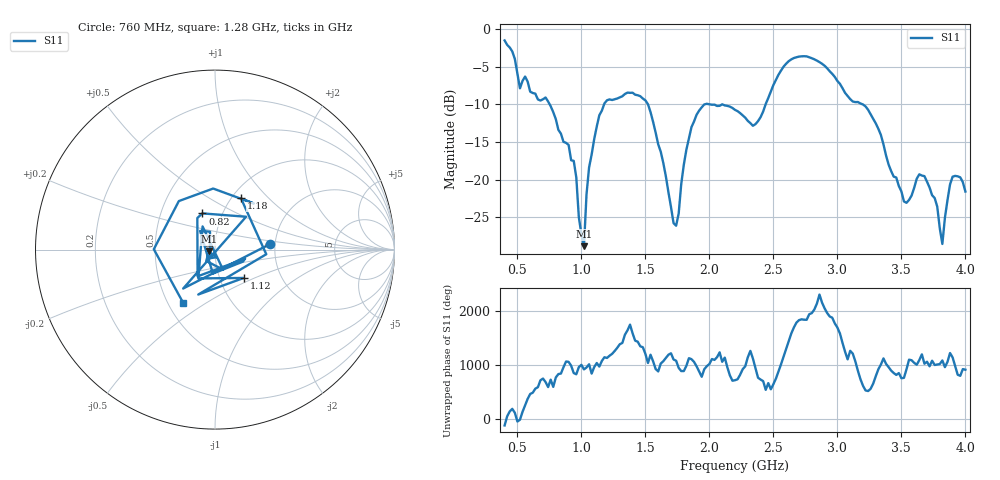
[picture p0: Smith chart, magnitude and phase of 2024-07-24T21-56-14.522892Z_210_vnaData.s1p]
!Created with skrf (http://scikit-rf.org).
# Hz S RI R 50.0
!freq ReS11 ImS11
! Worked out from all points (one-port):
!   181 points, 400 MHz to 4 GHz, reference 50 ohm
!   lowest |S11| = -28.8 dB at 1.02 GHz (marker M1), VSWR 1.07, Z = 46.6 - j0.956 ohm
!   |S11| at or under -10 dB: 1.52 GHz to 1.967 GHz (447.2 MHz wide, 25.6 % of centre); 1.996 GHz to 2.44 GHz (443 MHz wide, 20 % of centre); 3.194 GHz to end of sweep (the widest 3 of 4)
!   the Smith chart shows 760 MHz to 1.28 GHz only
!   S11 on the Smith chart (normalised r, x): 760 MHz: 1.87, +0.12; 820 MHz: 0.80, +0.34; 1.12 GHz: 1.30, -0.43; 1.18 GHz: 1.10, +0.70; 1.28 GHz: 0.60, -0.40
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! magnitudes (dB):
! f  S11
! 400 MHz  -1.5
! 520 MHz  -7.9
! 760 MHz  -10.3
! 820 MHz  -13.4
! 860 MHz  -15.0
! 940 MHz  -17.5
! 1.02 GHz  -28.8
! 1.06 GHz  -18.4
! 1.12 GHz  -13.0
! 1.18 GHz  -9.9
! 1.28 GHz  -9.2
! 1.3 GHz  -9.1
! 1.52 GHz  -10.0
! 1.72 GHz  -25.8
! 1.76 GHz  -24.5
! 1.82 GHz  -16.0
! 1.9 GHz  -11.4
! 2.2 GHz  -10.8
! 2.36 GHz  -12.6
! 2.66 GHz  -3.9
! 3.1 GHz  -9.3
! 3.24 GHz  -10.7
! 3.56 GHz  -22.7
! 3.68 GHz  -19.6
! 3.78 GHz  -23.6
! 3.82 GHz  -28.6
! 3.9 GHz  -19.6
! 4 GHz  -21.6
